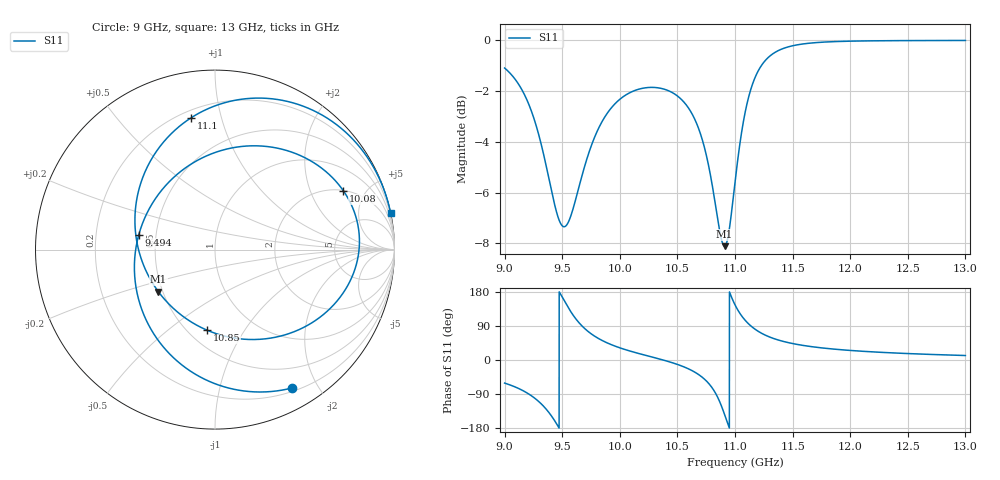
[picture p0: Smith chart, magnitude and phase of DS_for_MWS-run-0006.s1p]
! TOUCHSTONE file generated by CST DESIGN STUDIO
! Date and time: Tue Feb  4 16:44:46 2025
! Project name: C:\Work\MatlabApps\UnitCellOptimizationMatlab\CST\unitcell.cst
! Tree item: Tasks\Sweep1\SPara1\S-Parameters
! Header version: 2024
! Port assignment regex: !\s*Touchstone port\s*([0-9]+)\s*=\s*(CST MWS port|CST DES external port|CST DES block port)\s*(.+)\s* \(\"(.*)\"\)(\s*mode\s*([0-9]+))?.*
! Touchstone port assignment:
! Touchstone port 1 = CST DES external port 1 ("")
# GHz S MA R 50
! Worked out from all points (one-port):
!   4001 points, 9 GHz to 13 GHz, reference 50 ohm
!   lowest |S11| = -8.1 dB at 10.91 GHz (marker M1), VSWR 2.30, Z = 23.7 - j13.1 ohm
!   |S11| at or under -10 dB: nowhere
!   S11 on the Smith chart (normalised r, x): 9 GHz: 0.24, -1.68; 9.494 GHz: 0.40, +0.08; 10.08 GHz: 2.03, +3.48; 10.85 GHz: 0.62, -0.70; 11.1 GHz: 0.24, +0.81; 13 GHz: 0.01, +9.66
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9  0.8823 -60.9
9.153  0.7971 -79.8
9.265  0.6898 -101.6
9.394  0.5219 -142.3
9.494  0.4328 169.2
9.5  0.4311 166.0
9.601  0.4715 115.6
9.7  0.57 81.7
9.845  0.6912 51.8
10  0.7654 32.1
10.078  0.7868 24.6
10.296  0.8078 6.6
10.5  0.7772 -11.6
10.603  0.7318 -24.4
10.689  0.6656 -39.4
10.779  0.5545 -64.5
10.845  0.4513 -95.6
10.909  0.393 -143.4
10.956  0.433 176.5
11  0.5247 145.6
11.052  0.6473 118.8
11.102  0.7466 100.2
11.177  0.848 80.6
11.28  0.9215 63.2
11.5  0.976 43.4
12  0.9965 25.2
12.5  0.9992 17.0
13  0.9998 11.8
